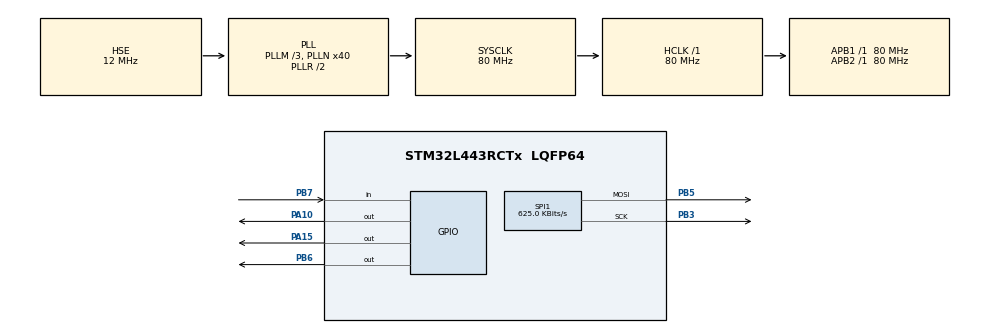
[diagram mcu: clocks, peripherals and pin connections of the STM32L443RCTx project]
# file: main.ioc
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Mcu.Family=STM32L4
Mcu.Name=STM32L443RCTx
Mcu.Package=LQFP64
NVIC.PriorityGroup=NVIC_PRIORITYGROUP_4
PA10.Signal=GPIO_Output
PA13\ (JTMS-SWDIO).Mode=Serial_Wire
PA13\ (JTMS-SWDIO).Signal=SYS_JTMS-SWDIO
PA14\ (JTCK-SWCLK).Mode=Serial_Wire
PA14\ (JTCK-SWCLK).Signal=SYS_JTCK-SWCLK
PA15\ (JTDI).Signal=GPIO_Output
PB3\ (JTDO-TRACESWO).Mode=TX_Only_Simplex_Unidirect_Master
PB3\ (JTDO-TRACESWO).Signal=SPI1_SCK
PB5.Mode=TX_Only_Simplex_Unidirect_Master
PB5.Signal=SPI1_MOSI
PB6.Signal=GPIO_Output
PB7.Signal=GPIO_Input
PH0-OSC_IN\ (PH0).Mode=HSE-External-Oscillator
PH0-OSC_IN\ (PH0).Signal=RCC_OSC_IN
PH1-OSC_OUT\ (PH1).Mode=HSE-External-Oscillator
PH1-OSC_OUT\ (PH1).Signal=RCC_OSC_OUT
ProjectManager.HeapSize=0x200
ProjectManager.StackSize=0x400
ProjectManager.TargetToolchain=Makefile
RCC.ADCFreq_Value=16000000
RCC.AHBFreq_Value=80000000
RCC.APB1Freq_Value=80000000
RCC.APB1TimFreq_Value=80000000
RCC.APB2Freq_Value=80000000
RCC.APB2TimFreq_Value=80000000
RCC.CortexFreq_Value=80000000
RCC.HCLKFreq_Value=80000000
RCC.HSE_VALUE=12000000
RCC.HSI48_VALUE=48000000
RCC.HSI_VALUE=16000000
RCC.LSE_VALUE=32768
RCC.MSI_VALUE=4000000
RCC.PLLM=3
RCC.PLLN=40
RCC.PLLSourceVirtual=RCC_PLLSOURCE_HSE
RCC.SYSCLKFreq_VALUE=80000000
RCC.SYSCLKSource=RCC_SYSCLKSOURCE_PLLCLK
RCC.USBFreq_Value=16000000
RCC.VCOOutputFreq_Value=160000000
SPI1.BaudRatePrescaler=SPI_BAUDRATEPRESCALER_128
SPI1.CLKPhase=SPI_PHASE_1EDGE
SPI1.CalculateBaudRate=625.0 KBits/s
SPI1.DataSize=SPI_DATASIZE_8BIT
SPI1.Direction=SPI_DIRECTION_2LINES
SPI1.Mode=SPI_MODE_MASTER
SPI1.NSSPMode=SPI_NSS_PULSE_DISABLE
SPI1.VirtualType=VM_MASTER
board=main

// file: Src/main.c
#include "main.h"
#include "stm32l4xx_hal.h"

/* USER CODE BEGIN Includes */
/* vim: set ai et ts=4 sw=4: */

// #include "ice40_config_uncompressed.h"
#include "ice40_config_compressed.h"

#include "ssd1306_tests.h"
/* USER CODE END Includes */

SPI_HandleTypeDef hspi1;

/* USER CODE BEGIN PV */
/* Private variables ---------------------------------------------------------*/

/* USER CODE END PV */

void SystemClock_Config(void);
static void MX_GPIO_Init(void);
static void MX_SPI1_Init(void);

/* USER CODE BEGIN PFP */
/* Private function prototypes -----------------------------------------------*/

/* USER CODE END PFP */

/* USER CODE BEGIN 0 */

void blink_status_led(int num) {
    // blink status LED (SS) `num` times
    HAL_GPIO_WritePin(GPIOA, GPIO_PIN_15, GPIO_PIN_RESET);
    HAL_Delay(200);

    for(int i = 0; i < num; i++) {
        HAL_GPIO_TogglePin(GPIOA, GPIO_PIN_15); // on
        HAL_Delay(200);
        HAL_GPIO_TogglePin(GPIOA, GPIO_PIN_15); // off
        HAL_Delay(200);
    }
}

// Write to SPI in multiple chunks (HAL_SPI_Transmit length is limited to 16 bits)
// Copy-pasted from iceboot
int spi_write(uint8_t *p, uint32_t len) {
    int ret;
    uint16_t n;

    ret = HAL_OK;
    n = 0x8000;
    while (len > 0) {
        if (len < n)
            n = len;
        ret = HAL_SPI_Transmit(&hspi1, p, n, HAL_MAX_DELAY);
        if (ret != HAL_OK)
            return ret;
        len -= n;
        p += n;
    }
    return ret;
}

// 0 = OK , < 0 = error
int ice40_configure_uncompressed(const unsigned char* bin, unsigned int bin_size) {
    // SS = LOW
    HAL_GPIO_WritePin(GPIOA, GPIO_PIN_15, GPIO_PIN_RESET);

    // CRESET = LOW
    HAL_GPIO_WritePin(GPIOB, GPIO_PIN_6, GPIO_PIN_RESET);
    // Keep CRESET low for at least 200 nsec
    HAL_Delay(1);
    // CRESET = HIGH
    HAL_GPIO_WritePin(GPIOB, GPIO_PIN_6, GPIO_PIN_SET);
    // Give ICE40 at least 800 usec to clear internal configuration memory
    HAL_Delay(850);

    // check CDONE is LOW
    if(HAL_GPIO_ReadPin(GPIOB, GPIO_PIN_7) != GPIO_PIN_RESET) {
        return -1;
    }

    // send the configuration over SPI
    int res = spi_write((uint8_t*)bin, bin_size);
    if(res != HAL_OK) {
        return -2;
    }

    // send at least 49 dummy bits
    unsigned char dummy[7] = {0};
    res = spi_write(dummy, sizeof(dummy));
    if(res != HAL_OK) {
        return -3;
    }

    // check CDONE is HIGH
    if(HAL_GPIO_ReadPin(GPIOB, GPIO_PIN_7) != GPIO_PIN_SET) {
        return -4;
    }

    return 0;
}

// 0 = OK , < 0 = error
int ice40_configure_compressed(const unsigned char* bin, unsigned int bin_size) {
    // SS = LOW
    HAL_GPIO_WritePin(GPIOA, GPIO_PIN_15, GPIO_PIN_RESET);

    // CRESET = LOW
    HAL_GPIO_WritePin(GPIOB, GPIO_PIN_6, GPIO_PIN_RESET);
    // Keep CRESET low for at least 200 nsec
    HAL_Delay(1);
    // CRESET = HIGH
    HAL_GPIO_WritePin(GPIOB, GPIO_PIN_6, GPIO_PIN_SET);
    // Give ICE40 at least 800 usec to clear internal configuration memory
    HAL_Delay(850);

    // check CDONE is LOW
    if(HAL_GPIO_ReadPin(GPIOB, GPIO_PIN_7) != GPIO_PIN_RESET) {
        return -1;
    }

    uint32_t offset = 0;
    uint8_t zero_buff[128] = { 0 };
    uint8_t curr_code;
    int res;

    while(offset < bin_size) {
        curr_code = (uint8_t)(bin[offset++]);

        if((curr_code & (1 << 7)) == 0) { // zeros
            uint8_t zeros_cnt = (curr_code & 0x7F) + 1;
            res = spi_write(zero_buff, zeros_cnt);
            if(res != HAL_OK) {
                return -2;
            }
        } else if((curr_code & 0xC0) == 0x80) { // even more zeros
            if(offset == bin_size) { // end of data while reading extra code
                return -3;
            }

            uint8_t extra_code = (uint8_t)(bin[offset++]);
            uint16_t zeros_cnt = (((uint16_t)(curr_code & 0x3F)) << 8) | (uint16_t)extra_code;
            zeros_cnt += 129;

            while(zeros_cnt > 0) {
                uint8_t nwrite = zeros_cnt > sizeof(zero_buff) ? sizeof(zero_buff) : zeros_cnt;
                res = spi_write(zero_buff, nwrite);
                if(res != HAL_OK) {
                    return -4;
                }
                zeros_cnt -= nwrite;
            }
        } else { // (curr_code & 0xC0) == 0xC0, regular bytes
            uint8_t regular_cnt = (curr_code & 0x3F) + 1;
            if(offset + regular_cnt > bin_size) {
                return -5;
            }

            res = spi_write((uint8_t*)(bin + offset), regular_cnt);
            if(res != HAL_OK) {
                return -6;
            }
            offset += regular_cnt;
        }
    }

    // send at least 49 dummy bits
    unsigned char dummy[7] = {0};
    res = spi_write(dummy, sizeof(dummy));
    if(res != HAL_OK) {
        return -7;
    }

    // check CDONE is HIGH
    if(HAL_GPIO_ReadPin(GPIOB, GPIO_PIN_7) != GPIO_PIN_SET) {
        return -8;
    }

    return 0;
}

void loop() {
    ssd1306_TestAll();
    HAL_Delay(5*1000);
}

void init() {
    // notify of configuration start
    blink_status_led(2);

    // int code = ice40_configure_uncompressed(main_bin, main_bin_len);
    int code = ice40_configure_compressed(main_bin_enc2, main_bin_enc2_len);

    // notify of configuration end (code == 0) or error (code < 0)
    blink_status_led(2 - code);

    if(code < 0) {
        HAL_Delay(HAL_MAX_DELAY);
    }
}

/* USER CODE END 0 */

int main(void)
{

  /* MCU Configuration----------------------------------------------------------*/

  /* Reset of all peripherals, Initializes the Flash interface and the Systick. */
  HAL_Init();

  /* Configure the system clock */
  SystemClock_Config();

  /* Initialize all configured peripherals */
  MX_GPIO_Init();
  MX_SPI1_Init();

  /* Infinite loop */
  /* USER CODE BEGIN WHILE */
  init();
  while (1)
  {
    loop();
  /* USER CODE END WHILE */

  }

}

/** System Clock Configuration
*/
void SystemClock_Config(void)
{

  RCC_OscInitTypeDef RCC_OscInitStruct;
  RCC_ClkInitTypeDef RCC_ClkInitStruct;

    /**Initializes the CPU, AHB and APB busses clocks
    */
  RCC_OscInitStruct.OscillatorType = RCC_OSCILLATORTYPE_HSE;
  RCC_OscInitStruct.HSEState = RCC_HSE_ON;
  RCC_OscInitStruct.PLL.PLLState = RCC_PLL_ON;
  RCC_OscInitStruct.PLL.PLLSource = RCC_PLLSOURCE_HSE;
  RCC_OscInitStruct.PLL.PLLM = 3;
  RCC_OscInitStruct.PLL.PLLN = 40;
  RCC_OscInitStruct.PLL.PLLP = RCC_PLLP_DIV7;
  RCC_OscInitStruct.PLL.PLLQ = RCC_PLLQ_DIV2;
  RCC_OscInitStruct.PLL.PLLR = RCC_PLLR_DIV2;
  if (HAL_RCC_OscConfig(&RCC_OscInitStruct) != HAL_OK)
  {
    _Error_Handler(__FILE__, __LINE__);
  }

    /**Initializes the CPU, AHB and APB busses clocks
    */
  RCC_ClkInitStruct.ClockType = RCC_CLOCKTYPE_HCLK|RCC_CLOCKTYPE_SYSCLK
                              |RCC_CLOCKTYPE_PCLK1|RCC_CLOCKTYPE_PCLK2;
  RCC_ClkInitStruct.SYSCLKSource = RCC_SYSCLKSOURCE_PLLCLK;
  RCC_ClkInitStruct.AHBCLKDivider = RCC_SYSCLK_DIV1;
  RCC_ClkInitStruct.APB1CLKDivider = RCC_HCLK_DIV1;
  RCC_ClkInitStruct.APB2CLKDivider = RCC_HCLK_DIV1;

  if (HAL_RCC_ClockConfig(&RCC_ClkInitStruct, FLASH_LATENCY_4) != HAL_OK)
  {
    _Error_Handler(__FILE__, __LINE__);
  }

    /**Configure the main internal regulator output voltage
    */
  if (HAL_PWREx_ControlVoltageScaling(PWR_REGULATOR_VOLTAGE_SCALE1) != HAL_OK)
  {
    _Error_Handler(__FILE__, __LINE__);
  }

    /**Configure the Systick interrupt time
    */
  HAL_SYSTICK_Config(HAL_RCC_GetHCLKFreq()/1000);

    /**Configure the Systick
    */
  HAL_SYSTICK_CLKSourceConfig(SYSTICK_CLKSOURCE_HCLK);

  /* SysTick_IRQn interrupt configuration */
  HAL_NVIC_SetPriority(SysTick_IRQn, 0, 0);
}

/* SPI1 init function */
static void MX_SPI1_Init(void)
{

  /* SPI1 parameter configuration*/
  hspi1.Instance = SPI1;
  hspi1.Init.Mode = SPI_MODE_MASTER;
  hspi1.Init.Direction = SPI_DIRECTION_2LINES;
  hspi1.Init.DataSize = SPI_DATASIZE_8BIT;
  hspi1.Init.CLKPolarity = SPI_POLARITY_LOW;
  hspi1.Init.CLKPhase = SPI_PHASE_1EDGE;
  hspi1.Init.NSS = SPI_NSS_SOFT;
  hspi1.Init.BaudRatePrescaler = SPI_BAUDRATEPRESCALER_128;
  hspi1.Init.FirstBit = SPI_FIRSTBIT_MSB;
  hspi1.Init.TIMode = SPI_TIMODE_DISABLE;
  hspi1.Init.CRCCalculation = SPI_CRCCALCULATION_DISABLE;
  hspi1.Init.CRCPolynomial = 7;
  hspi1.Init.CRCLength = SPI_CRC_LENGTH_DATASIZE;
  hspi1.Init.NSSPMode = SPI_NSS_PULSE_DISABLE;
  if (HAL_SPI_Init(&hspi1) != HAL_OK)
  {
    _Error_Handler(__FILE__, __LINE__);
  }

}

/** Configure pins as
        * Analog
        * Input
        * Output
        * EVENT_OUT
        * EXTI
*/
static void MX_GPIO_Init(void)
{

  GPIO_InitTypeDef GPIO_InitStruct;

  /* GPIO Ports Clock Enable */
  __HAL_RCC_GPIOH_CLK_ENABLE();
  __HAL_RCC_GPIOA_CLK_ENABLE();
  __HAL_RCC_GPIOB_CLK_ENABLE();

  /*Configure GPIO pin Output Level */
  HAL_GPIO_WritePin(GPIOA, GPIO_PIN_10|GPIO_PIN_15, GPIO_PIN_RESET);

  /*Configure GPIO pin Output Level */
  HAL_GPIO_WritePin(GPIOB, GPIO_PIN_6, GPIO_PIN_RESET);

  /*Configure GPIO pins : PA10 PA15 */
  GPIO_InitStruct.Pin = GPIO_PIN_10|GPIO_PIN_15;
  GPIO_InitStruct.Mode = GPIO_MODE_OUTPUT_PP;
  GPIO_InitStruct.Pull = GPIO_NOPULL;
  GPIO_InitStruct.Speed = GPIO_SPEED_FREQ_LOW;
  HAL_GPIO_Init(GPIOA, &GPIO_InitStruct);

  /*Configure GPIO pin : PB6 */
  GPIO_InitStruct.Pin = GPIO_PIN_6;
  GPIO_InitStruct.Mode = GPIO_MODE_OUTPUT_PP;
  GPIO_InitStruct.Pull = GPIO_NOPULL;
  GPIO_InitStruct.Speed = GPIO_SPEED_FREQ_LOW;
  HAL_GPIO_Init(GPIOB, &GPIO_InitStruct);

  /*Configure GPIO pin : PB7 */
  GPIO_InitStruct.Pin = GPIO_PIN_7;
  GPIO_InitStruct.Mode = GPIO_MODE_INPUT;
  GPIO_InitStruct.Pull = GPIO_NOPULL;
  HAL_GPIO_Init(GPIOB, &GPIO_InitStruct);

}

void _Error_Handler(char * file, int line)
{
  while(1)
  {
  }
}

/************************ (C) COPYRIGHT STMicroelectronics *****END OF FILE****/
